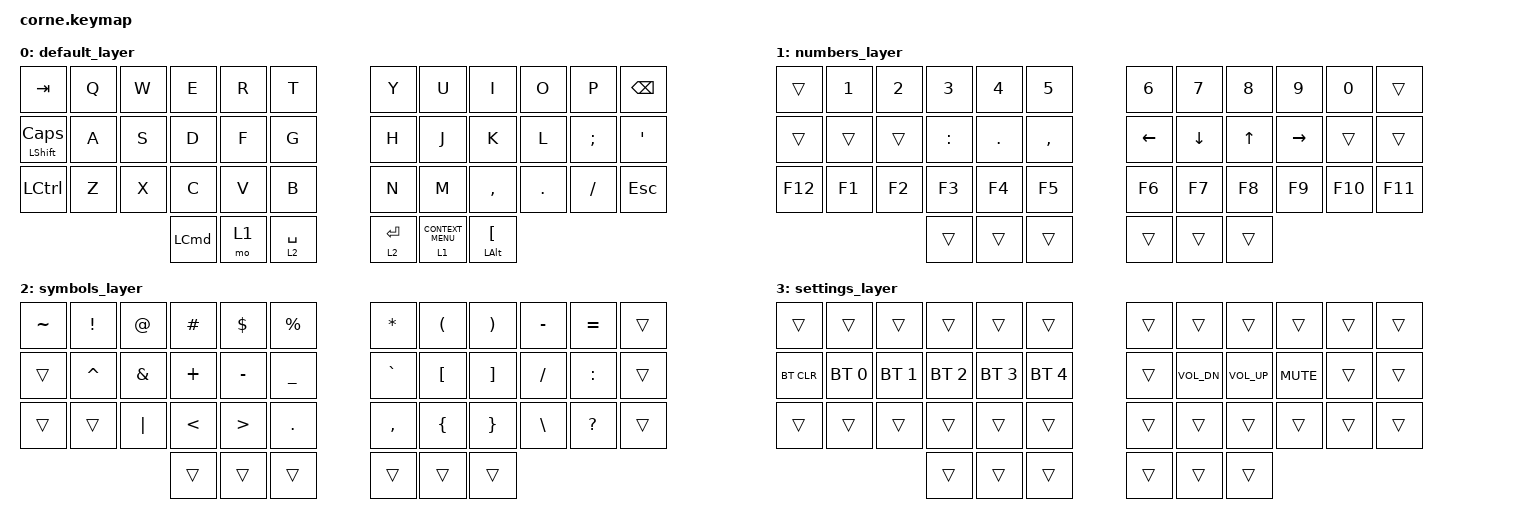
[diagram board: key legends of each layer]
/*
 * Copyright (c) 2020 The ZMK Contributors
 *
 * SPDX-License-Identifier: MIT
 */

#include <behaviors.dtsi>
#include <dt-bindings/zmk/bt.h>
#include <dt-bindings/zmk/keys.h>

/ {
    combos {
        compatible = "zmk,combos";

        settings_layer {
            bindings = <&mo 3>;
            key-positions = <37 40>;
        };

        delete {
            bindings = <&kp DEL>;
            key-positions = <11 41>;
        };
    };

    keymap {
        compatible = "zmk,keymap";

        default_layer {
            // -----------------------------------------------------------------------------------------
            // |  TAB |  Q  |  W  |  E  |  R  |  T  |   |  Y  |  U   |  I  |  O  |  P  | BSPC |
            // | CTRL |  A  |  S  |  D  |  F  |  G  |   |  H  |  J   |  K  |  L  |  ;  |  '   |
            // | SHFT |  Z  |  X  |  C  |  V  |  B  |   |  N  |  M   |  ,  |  .  |  /  | ESC  |
            //                    | GUI | LWR | SPC |   | ENT | RSE  | ALT |

            bindings = <
&kp TAB              &kp Q  &kp W  &kp E     &kp R  &kp T          &kp Y        &kp U                 &kp I                      &kp O    &kp P     &kp BACKSPACE
&mt LEFT_SHIFT CAPS  &kp A  &kp S  &kp D     &kp F  &kp G          &kp H        &kp J                 &kp K                      &kp L    &kp SEMI  &kp SQT
&kp LEFT_CONTROL     &kp Z  &kp X  &kp C     &kp V  &kp B          &kp N        &kp M                 &kp COMMA                  &kp DOT  &kp FSLH  &kp ESCAPE
                                   &kp LCMD  &mo 1  &lt 2 SPACE    &lt 2 ENTER  &lt 1 K_CONTEXT_MENU  &mt LEFT_ALT LEFT_BRACKET
            >;
        };

        numbers_layer {
            // -----------------------------------------------------------------------------------------
            // |  TAB |  1  |  2  |  3  |  4  |  5  |   |  6  |  7  |  8  |  9  |  0  | BSPC |
            // | BTCLR| BT1 | BT2 | BT3 | BT4 | BT5 |   | LFT | DWN |  UP | RGT |     |      |
            // | SHFT |     |     |     |     |     |   |     |     |     |     |     |      |
            //                    | GUI |     | SPC |   | ENT |     | ALT |

            bindings = <
&trans   &kp N1  &kp N2  &kp N3     &kp N4   &kp N5       &kp N6    &kp N7    &kp N8  &kp N9     &kp N0   &trans
&trans   &trans  &trans  &kp COLON  &kp DOT  &kp COMMA    &kp LEFT  &kp DOWN  &kp UP  &kp RIGHT  &trans   &trans
&kp F12  &kp F1  &kp F2  &kp F3     &kp F4   &kp F5       &kp F6    &kp F7    &kp F8  &kp F9     &kp F10  &kp F11
                         &trans     &trans   &trans       &trans    &trans    &trans
            >;
        };

        symbols_layer {
            // -----------------------------------------------------------------------------------------
            // |  TAB |  !  |  @  |  #  |  $  |  %  |   |  ^  |  &  |  *  |  (  |  )  | BSPC |
            // | CTRL |     |     |     |     |     |   |  -  |  =  |  [  |  ]  |  \  |  `   |
            // | SHFT |     |     |     |     |     |   |  _  |  +  |  {  |  }  | "|" |  ~   |
            //                    | GUI |     | SPC |   | ENT |     | ALT |

            bindings = <
&kp TILDE  &kp EXCL   &kp AT    &kp HASH       &kp DLLR          &kp PERCENT    &kp ASTERISK  &kp LPAR          &kp RPAR  &kp MINUS      &kp EQUAL     &trans
&trans     &kp CARET  &kp AMPS  &kp PLUS       &kp MINUS         &kp UNDER      &kp GRAVE     &kp LEFT_BRACKET  &kp RBKT  &kp SLASH      &kp COLON     &trans
&trans     &trans     &kp PIPE  &kp LESS_THAN  &kp GREATER_THAN  &kp DOT        &kp COMMA     &kp LBRC          &kp RBRC  &kp BACKSLASH  &kp QUESTION  &trans
                                &trans         &trans            &trans         &trans        &trans            &trans
            >;
        };

        settings_layer {
            bindings = <
&trans      &trans        &trans        &trans        &trans        &trans          &trans  &trans        &trans        &trans      &trans  &trans
&bt BT_CLR  &bt BT_SEL 0  &bt BT_SEL 1  &bt BT_SEL 2  &bt BT_SEL 3  &bt BT_SEL 4    &trans  &kp C_VOL_DN  &kp C_VOL_UP  &kp C_MUTE  &trans  &trans
&trans      &trans        &trans        &trans        &trans        &trans          &trans  &trans        &trans        &trans      &trans  &trans
                                        &trans        &trans        &trans          &trans  &trans        &trans
            >;
        };
    };
};
